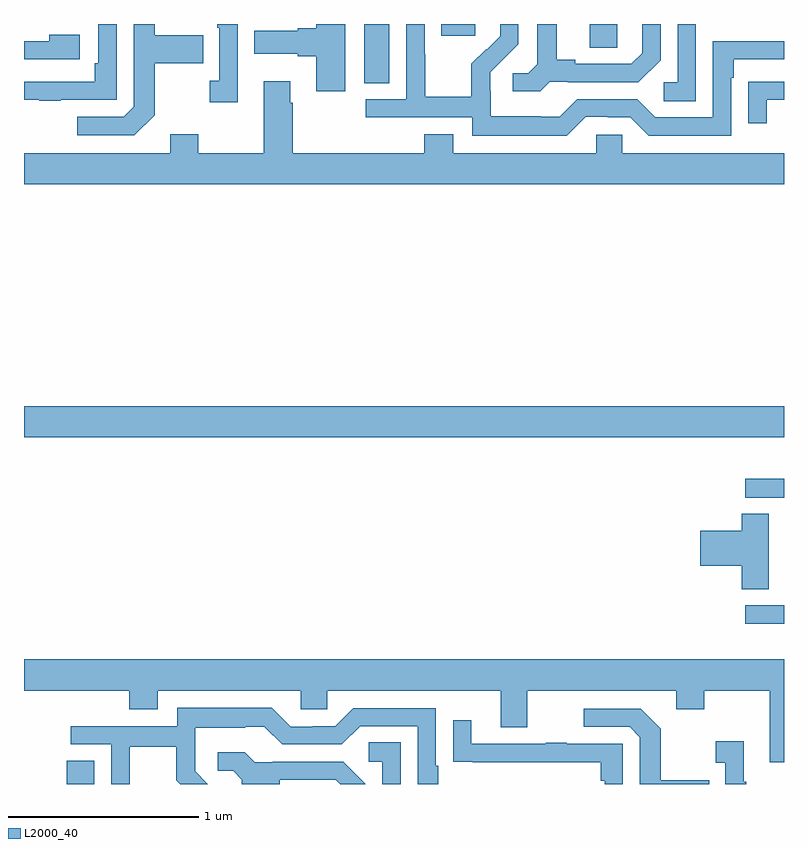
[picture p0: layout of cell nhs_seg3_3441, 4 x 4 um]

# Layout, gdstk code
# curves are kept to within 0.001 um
import gdstk
lib = gdstk.Library(unit=1e-6, precision=1e-09)
def R(c, l, rs):  # rectangles x0, y0, x1, y1
    for r in rs: c.add(gdstk.rectangle(r[:2], r[2:], *l))
def P(c, l, *ps):  # polygons
    for p in ps: c.add(gdstk.Polygon(p, *l))
L2000_40 = (2000, 40)

nhs_seg3_3441 = lib.new_cell('nhs_seg3_3441')
R(nhs_seg3_3441, L2000_40, [(289.226,724.4,289.369,724.523), (292.797,725.244,293,725.34), (292.797,725.907,293,726.006), (289,726.224,293,726.388), (290.792,728.089,290.923,728.4), (291.977,728.275,292.122,728.4), (291.197,728.337,291.376,728.4)])
P(nhs_seg3_3441, L2000_40, [(289.193,728.001),(289.488,728.001),(289.488,728.4),(289.392,728.4),(289.392,728.194),(289.372,728.194),(289.372,728.097),(289,728.097),(289,728.001),(289.081,728.001),(289.081,727.996),(289.193,727.996)],
  [(291.768,728.097),(291.862,728.097),(291.862,728.094),(292.234,728.094),(292.35,728.21),(292.35,728.4),(292.253,728.4),(292.253,728.247),(292.196,728.19),(291.901,728.19),(291.901,728.213),(291.805,728.213),(291.805,728.4),(291.701,728.4),(291.701,728.189),(291.654,728.142),(291.573,728.142),(291.573,728.045),(291.716,728.045)],
  [(290.124,728.4),(290.016,728.4),(290.016,728.381),(290.028,728.381),(290.028,728.102),(289.977,728.102),(289.977,727.989),(290.124,727.989)],
  [(289.687,727.921),(289.687,728.194),(289.943,728.194),(289.943,728.341),(289.687,728.341),(289.687,728.4),(289.578,728.4),(289.578,727.965),(289.524,727.911),(289.281,727.911),(289.281,727.815),(289.581,727.815)],
  [(290.692,728.4),(290.537,728.4),(290.537,728.378),(290.441,728.378),(290.441,728.365),(290.211,728.365),(290.211,728.243),(290.441,728.243),(290.441,728.231),(290.537,728.231),(290.537,728.046),(290.692,728.046)],
  [(292.536,728.4),(292.44,728.4),(292.44,728.094),(292.368,728.094),(292.368,727.993),(292.536,727.993)],
  [(291.957,727.911),(292.073,727.911),(292.073,727.908),(292.191,727.908),(292.287,727.812),(292.722,727.812),(292.722,728.117),(292.735,728.117),(292.735,728.214),(293,728.214),(293,728.31),(292.626,728.31),(292.626,727.908),(292.323,727.908),(292.227,728.004),(291.912,728.004),(291.819,727.911),(291.719,727.911),(291.719,727.915),(291.456,727.915),(291.456,728.049),(291.454,728.049),(291.454,728.146),(291.6,728.294),(291.6,728.4),(291.506,728.4),(291.506,728.336),(291.435,728.265),(291.432,728.268),(291.355,728.191),(291.355,728.017),(291.111,728.017),(291.111,728.24),(291.108,728.24),(291.108,728.4),(291.012,728.4),(291.012,728.004),(290.799,728.004),(290.799,727.908),(291.36,727.908),(291.36,727.811),(291.857,727.811)],
  [(289.294,728.344),(289.133,728.344),(289.133,728.31),(289,728.31),(289,728.214),(289.294,728.214)],
  [(293,727.72),(292.149,727.72),(292.149,727.818),(292.011,727.818),(292.011,727.72),(291.259,727.72),(291.259,727.819),(291.107,727.819),(291.107,727.72),(290.414,727.72),(290.414,727.985),(290.401,727.985),(290.401,728.098),(290.261,728.098),(290.261,727.72),(289.917,727.72),(289.917,727.819),(289.769,727.819),(289.769,727.72),(289,727.72),(289,727.556),(293,727.556)],
  [(292.909,728.001),(293,728.001),(293,728.097),(292.915,728.097),(292.915,728.096),(292.813,728.096),(292.813,727.878),(292.909,727.878)],
  [(292.921,725.822),(292.778,725.822),(292.778,725.732),(292.56,725.732),(292.56,725.549),(292.778,725.549),(292.778,725.425),(292.921,725.425)],
  [(293,725.056),(289,725.056),(289,724.892),(289.553,724.892),(289.553,724.793),(289.705,724.793),(289.705,724.892),(290.457,724.892),(290.457,724.794),(290.595,724.794),(290.595,724.892),(291.509,724.892),(291.509,724.698),(291.649,724.698),(291.649,724.892),(292.433,724.892),(292.433,724.793),(292.581,724.793),(292.581,724.892),(292.925,724.892),(292.925,724.515),(293,724.515)],
  [(289.557,724.596),(289.801,724.596),(289.801,724.421),(289.822,724.4),(289.966,724.4),(289.9,724.466),(289.9,724.563),(289.902,724.563),(289.902,724.697),(290.165,724.697),(290.165,724.701),(290.265,724.701),(290.358,724.608),(290.673,724.608),(290.769,724.704),(291.072,724.704),(291.072,724.4),(291.181,724.4),(291.181,724.495),(291.168,724.495),(291.168,724.8),(290.733,724.8),(290.637,724.704),(290.519,724.704),(290.519,724.701),(290.403,724.701),(290.303,724.801),(289.806,724.801),(289.806,724.704),(289.245,724.704),(289.245,724.608),(289.458,724.608),(289.458,724.4),(289.557,724.4)],
  [(292.607,724.419),(292.351,724.419),(292.351,724.691),(292.245,724.797),(291.945,724.797),(291.945,724.701),(292.188,724.701),(292.242,724.647),(292.242,724.4),(292.607,724.4)],
  [(292.152,724.611),(291.857,724.611),(291.857,724.616),(291.745,724.616),(291.745,724.611),(291.355,724.611),(291.355,724.735),(291.259,724.735),(291.259,724.516),(291.361,724.516),(291.361,724.515),(292.036,724.515),(292.036,724.418),(292.056,724.418),(292.056,724.4),(292.152,724.4)],
  [(292.801,724.411),(292.789,724.411),(292.789,724.624),(292.641,724.624),(292.641,724.511),(292.692,724.511),(292.692,724.4),(292.801,724.4)],
  [(290.982,724.619),(290.814,724.619),(290.814,724.518),(290.886,724.518),(290.886,724.4),(290.982,724.4)],
  [(290.347,724.422),(290.642,724.422),(290.664,724.4),(290.796,724.4),(290.796,724.402),(290.68,724.518),(290.308,724.518),(290.308,724.515),(290.214,724.515),(290.162,724.567),(290.019,724.567),(290.019,724.47),(290.1,724.47),(290.147,724.423),(290.147,724.4),(290.347,724.4)])

lib.write_gds('nhs_seg3_3441.gds')
